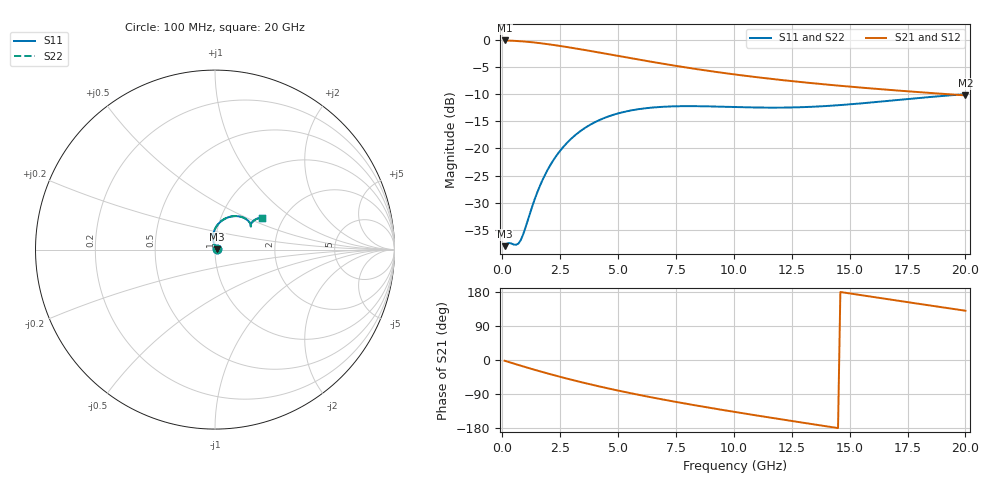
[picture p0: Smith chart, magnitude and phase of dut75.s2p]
! Touchstone file exported from HFSS 2024.1.0
!  File:  C:/UserFiles/LocalFiles/RDL_TSV_Batchsim/temp_RDL_TSV_75_1779412727.aedt
!  Generated:  09:36:02 AM May 22, 2026
!  Design:  RDL_TSV
!  Project:  temp_RDL_TSV_75_1779412727
!  Setup:  Setup1
!  Solution:  Sweep
! Variables:
!  dtsv = 6.43um
!  hbump = 3um
!  htsv = 95.71um
!  ldown = 340.27um
!  lrdl = 549.41um
!  p = 40
!  p1 = 53.66um
!  rhole = 10um
!  subl = 3218.45um
!  t = 450um
!  tdown = 3.95um
!  trdl = 4.19um
!  viad = 10um
!  wdown = 29.32um
!  wrdl = 26.21um
!  xbump = 18um
# GHz S MA R 50.000000
! Terminal data exported
! Port[1] = TM1_1_T1
! Port[2] = TM1_4_T1
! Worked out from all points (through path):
!   200 points, 100 MHz to 20 GHz, reference 50 ohm
!   highest |S21| = -0.11 dB at 100 MHz (marker M1); lowest = -10.2 dB at 20 GHz (marker M2)
!   group delay of S21, straight-line fit = 30.2 ps
!   lowest |S11| = -38.0 dB at 100 MHz (marker M3), VSWR 1.03, Z = 51.3 + j0.222 ohm
!   |S11| at or under -10 dB: start of sweep to end of sweep
!   |S22| runs from -38.0 to -10.0 dB; largest |S21 - S12| = 1e-14
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0.1  0.01258 9.9  0.9872 -2.0  0.9872 -2.0  0.01258 9.9
! Gamma 0 0 0 0
! Port Impedance 50 0 50 0
0.3  0.01345 20.6  0.9839 -5.8  0.9839 -5.8  0.01346 20.6
0.6  0.01295 43.3  0.9771 -11.4  0.9771 -11.4  0.01295 43.3
0.7  0.01332 54.2  0.9741 -13.2  0.9741 -13.2  0.01331 54.1
0.9  0.01611 75.3  0.9672 -16.9  0.9672 -16.9  0.01609 75.3
1.5  0.03881 100.5  0.9395 -27.7  0.9395 -27.7  0.03879 100.6
1.7  0.04914 101.3  0.9283 -31.1  0.9283 -31.1  0.04912 101.4
2  0.0659 99.9  0.9104 -36.2  0.9104 -36.2  0.06588 100.0
2.3  0.08347 97.0  0.8915 -41.2  0.8915 -41.2  0.08346 97.0
2.7  0.1071 91.9  0.8651 -47.6  0.8651 -47.6  0.1071 92.0
3.5  0.1509 80.8  0.8107 -59.8  0.8107 -59.8  0.151 80.9
4.2  0.1827 71.5  0.7635 -69.9  0.7635 -69.9  0.1829 71.6
4.9  0.2072 63.2  0.718 -79.4  0.718 -79.4  0.2074 63.2
5.8  0.2283 54.1  0.6636 -90.8  0.6636 -90.8  0.2287 54.1
6.8  0.2408 46.1  0.6095 -102.7  0.6095 -102.7  0.2412 46.1
8.4  0.2449 37.5  0.5374 -120.3  0.5374 -120.3  0.2455 37.6
10.1  0.2404 33.4  0.4782 -137.7  0.4782 -137.7  0.241 33.4
11.7  0.2375 33.1  0.435 -153.3  0.435 -153.3  0.2381 33.0
13.4  0.242 34.6  0.3987 -169.4  0.3987 -169.4  0.2425 34.5
15  0.2546 36.3  0.3709 175.7  0.3709 175.7  0.255 36.1
16.7  0.2745 36.8  0.3462 160.0  0.3462 160.0  0.2747 36.7
20  0.3159 34.1  0.3081 130.0  0.3081 130.0  0.3158 33.9
